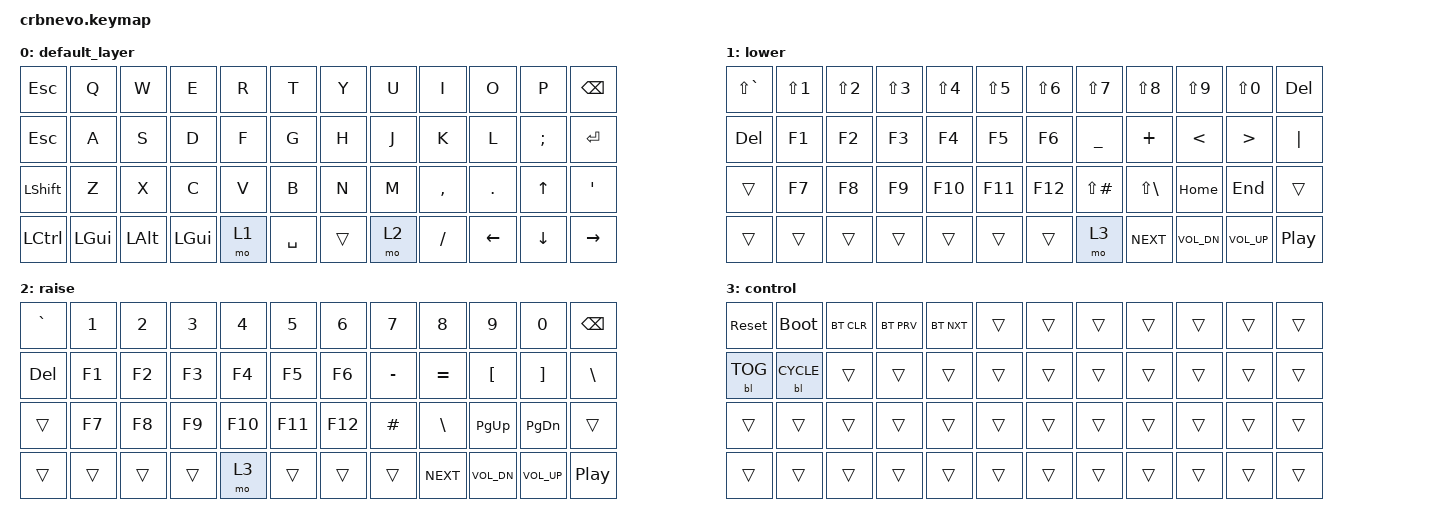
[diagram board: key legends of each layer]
/*
 * Copyright (c) 2020 The ZMK Contributors
 *
 * SPDX-License-Identifier: MIT
 */

#include <behaviors.dtsi>
#include <dt-bindings/zmk/backlight.h>
#include <dt-bindings/zmk/bt.h>
#include <dt-bindings/zmk/keys.h>

/ {
    keymap {
        compatible = "zmk,keymap";

        default_layer {
            // -----------------------------------------------------------------------------------------
            // |  TAB  |  Q   |  W   |  E   |  R   |  T   |   Y   |  U    |  I   |  O   |   P   | BSPC  |
            // |  ESC  |  A   |  S   |  D   |  F   |  G   |   H   |  J    |  K   |  L   |   ;   |  '    |
            // | SHIFT |  Z   |  X   |  C   |  V   |  B   |   N   |  M    |  ,   |  .   |   /   |  RET  |
            // | FN    | LGUI | LALT | LCTL | LOWR |     SPACE    |  RAIS | LARW | DARW | UARW  |  RARW |

            bindings = <
&kp ESC    &kp Q     &kp W     &kp E     &kp R  &kp T      &kp Y   &kp U  &kp I      &kp O     &kp P         &kp BSPC
&kp ESC    &kp A     &kp S     &kp D     &kp F  &kp G      &kp H   &kp J  &kp K      &kp L     &kp SEMI      &kp ENTER
&kp LSHFT  &kp Z     &kp X     &kp C     &kp V  &kp B      &kp N   &kp M  &kp COMMA  &kp DOT   &kp UP_ARROW  &kp SQT
&kp LCTRL  &kp LGUI  &kp LALT  &kp LGUI  &mo 1  &kp SPACE  &trans  &mo 2  &kp FSLH   &kp LEFT  &kp DOWN      &kp RIGHT
            >;
        };

        lower {
            bindings = <
&kp LS(GRAVE)  &kp LS(N1)  &kp LS(N2)  &kp LS(N3)  &kp LS(N4)  &kp LS(N5)  &kp LS(N6)  &kp LS(N7)    &kp LS(N8)    &kp LS(N9)    &kp LS(N0)    &kp DEL
&kp DEL        &kp F1      &kp F2      &kp F3      &kp F4      &kp F5      &kp F6      &kp UNDER     &kp PLUS      &kp LT        &kp GT        &kp PIPE
&trans         &kp F7      &kp F8      &kp F9      &kp F10     &kp F11     &kp F12     &kp LS(HASH)  &kp LS(BSLH)  &kp HOME      &kp END       &trans
&trans         &trans      &trans      &trans      &trans      &trans      &trans      &mo 3         &kp C_NEXT    &kp C_VOL_DN  &kp C_VOL_UP  &kp C_PP
            >;
        };

        raise {
            bindings = <
&kp GRAVE  &kp N1  &kp N2  &kp N3  &kp N4   &kp N5   &kp N6   &kp N7     &kp N8      &kp N9        &kp N0        &kp BSPC
&kp DEL    &kp F1  &kp F2  &kp F3  &kp F4   &kp F5   &kp F6   &kp MINUS  &kp EQUAL   &kp LBKT      &kp RBKT      &kp BSLH
&trans     &kp F7  &kp F8  &kp F9  &kp F10  &kp F11  &kp F12  &kp HASH   &kp BSLH    &kp PG_UP     &kp PG_DN     &trans
&trans     &trans  &trans  &trans  &mo 3    &trans   &trans   &trans     &kp C_NEXT  &kp C_VOL_DN  &kp C_VOL_UP  &kp C_PP
            >;
        };

        control {
            bindings = <
&sys_reset  &bootloader   &bt BT_CLR  &bt BT_PRV  &bt BT_NXT  &trans  &trans  &trans  &trans  &trans  &trans  &trans
&bl BL_TOG  &bl BL_CYCLE  &trans      &trans      &trans      &trans  &trans  &trans  &trans  &trans  &trans  &trans
&trans      &trans        &trans      &trans      &trans      &trans  &trans  &trans  &trans  &trans  &trans  &trans
&trans      &trans        &trans      &trans      &trans      &trans  &trans  &trans  &trans  &trans  &trans  &trans
            >;
        };
    };
};
